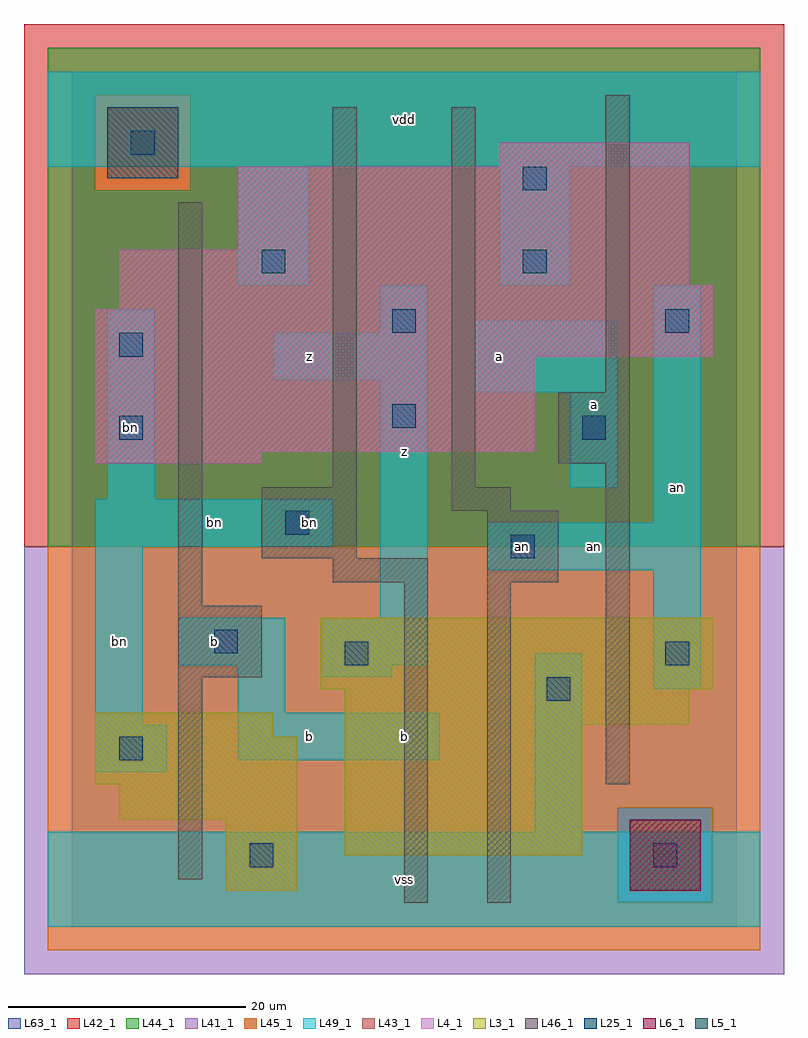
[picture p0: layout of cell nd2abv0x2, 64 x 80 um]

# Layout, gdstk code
import gdstk
lib = gdstk.Library(unit=1e-6, precision=1e-09)
def R(c, l, rs):  # rectangles x0, y0, x1, y1
    for r in rs: c.add(gdstk.rectangle(r[:2], r[2:], *l))
L3_1 = (3, 1)
L4_1 = (4, 1)
L5_1 = (5, 1)
L6_1 = (6, 1)
L25_1 = (25, 1)
L41_1 = (41, 1)
L42_1 = (42, 1)
L43_1 = (43, 1)
L44_1 = (44, 1)
L45_1 = (45, 1)
L46_1 = (46, 1)
L49_1 = (49, 1)
L63_1 = (63, 1)

nd2abv0x2 = lib.new_cell('nd2abv0x2')
R(nd2abv0x2, L3_1, [(13,3,19,9), (23,6,43,17), (4,9,19,12), (2,12,19,16), (2,16,17,18), (23,17,52,20), (21,20,54,26)])
R(nd2abv0x2, L4_1, [(2,39,16,40), (2,40,39,48), (2,48,54,52), (4,52,54,54), (4,54,52,57), (14,57,52,64), (36,64,52,66)])
R(nd2abv0x2, L5_1, [(3,63,9,69)])
R(nd2abv0x2, L6_1, [(47,3,53,9), (47,3,53,9)])
R(nd2abv0x2, L25_1, [(15,5,17,7), (49,5,51,7), (4,14,6,16), (40,19,42,21), (23,22,25,24), (50,22,52,24), (12,23,14,25), (37,31,39,33), (18,33,20,35), (4,41,6,43), (43,41,45,43), (27,42,29,44), (4,48,6,50), (27,50,29,52), (50,50,52,52), (16,55,18,57), (38,55,40,57), (38,62,40,64), (5,65,7,67)])
R(nd2abv0x2, L41_1, [(-4,-4,60,32)])
R(nd2abv0x2, L42_1, [(-4,32,60,76)])
R(nd2abv0x2, L43_1, [(13,3,19,9), (47,3,53,9), (23,6,43,17), (4,9,19,12), (2,12,19,16), (2,16,17,18), (23,17,52,20), (21,20,54,26), (2,39,16,40), (2,40,39,48), (2,48,54,52), (4,52,54,54), (4,54,52,57), (14,57,52,64), (3,63,9,69), (36,64,52,66)])
R(nd2abv0x2, L44_1, [(46,2,54,10), (-2,32,58,62), (-2,62,2,70), (10,62,58,70), (-2,70,58,74)])
R(nd2abv0x2, L45_1, [(-2,-2,58,2), (-2,2,46,10), (54,2,58,10), (-2,10,58,32), (2,62,10,70)])
R(nd2abv0x2, L46_1, [(28,2,30,29), (35,2,37,29), (9,4,11,21), (45,12,47,39), (9,21,16,27), (9,27,11,61), (22,29,30,31), (35,29,41,35), (16,31,24,37), (32,35,37,37), (22,37,24,69), (32,37,34,69), (41,39,47,45), (45,45,47,70)])
R(nd2abv0x2, L49_1, [(-2,0,58,8), (39,8,43,23), (2,13,8,17), (14,14,31,18), (2,17,6,32), (14,18,18,22), (49,20,53,30), (21,21,27,22), (9,22,18,26), (21,22,30,26), (26,26,30,46), (35,30,53,34), (2,32,22,36), (49,34,53,54), (3,36,7,52), (42,37,46,45), (34,45,46,51), (17,46,30,50), (26,50,30,54), (14,54,20,64), (36,54,42,64), (-2,64,58,72)])
R(nd2abv0x2, L63_1, [(0,0,56,72)])
nd2abv0x2.add(gdstk.Label('bn', (20,34), layer=49, texttype=1))
nd2abv0x2.add(gdstk.Label('an', (38,32), layer=49, texttype=1))
nd2abv0x2.add(gdstk.Label('bn', (5,42), layer=49, texttype=1))
nd2abv0x2.add(gdstk.Label('bn', (4,24), layer=49, texttype=1))
nd2abv0x2.add(gdstk.Label('b', (20,16), layer=49, texttype=1))
nd2abv0x2.add(gdstk.Label('b', (12,24), layer=49, texttype=1))
nd2abv0x2.add(gdstk.Label('bn', (12,34), layer=49, texttype=1))
nd2abv0x2.add(gdstk.Label('z', (20,48), layer=49, texttype=1))
nd2abv0x2.add(gdstk.Label('vss', (28,4), layer=49, texttype=1))
nd2abv0x2.add(gdstk.Label('b', (28,16), layer=49, texttype=1))
nd2abv0x2.add(gdstk.Label('z', (28,40), layer=49, texttype=1))
nd2abv0x2.add(gdstk.Label('a', (36,48), layer=49, texttype=1))
nd2abv0x2.add(gdstk.Label('vdd', (28,68), layer=49, texttype=1))
nd2abv0x2.add(gdstk.Label('an', (44,32), layer=49, texttype=1))
nd2abv0x2.add(gdstk.Label('an', (51,37), layer=49, texttype=1))
nd2abv0x2.add(gdstk.Label('a', (44,44), layer=49, texttype=1))

lib.write_gds('nd2abv0x2.gds')
